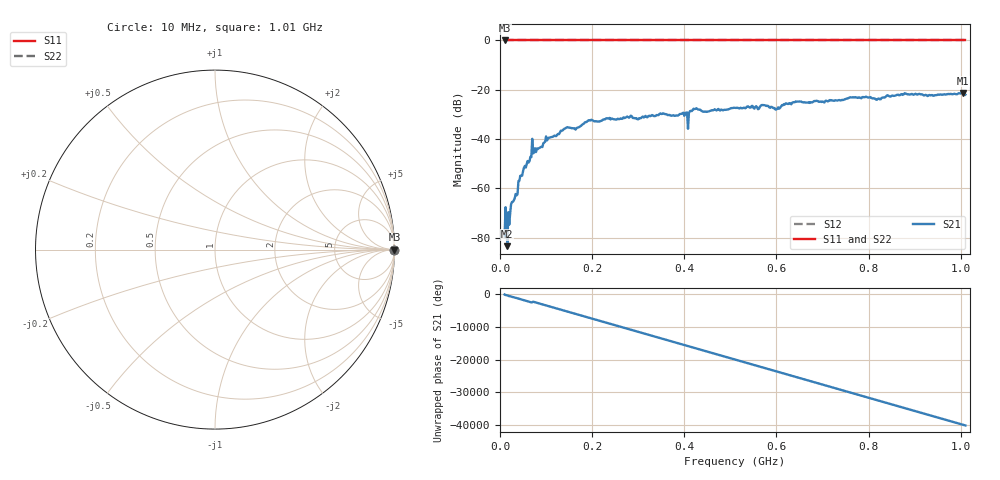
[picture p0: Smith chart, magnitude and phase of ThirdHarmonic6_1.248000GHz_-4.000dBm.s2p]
! 8/16/2025 1:18:47 PM
! C:\ANRITSUVNA\TEMP\TEMP.S2P
! CHANNEL.1
! TR.MEASUREMENT
! RAW.DATA
! RF.CORRECTION.OFF
! AVERAGING.OFF
! IF.BANDWIDTH: 5KHZ
! SWEEPTYPE:  FREQ.SWEEP(Linear)
! Reference Plane Port Info
! PORT:  PORT1  PORT2
! DISTANCE:  0  m  0  m
! TIME:  0  s  0  s
! PHASE.OFFSET:  0  deg.  0  deg.
! LOSS:  0  dB  0  dB
! REF.LOSS:  0  dB  0  dB
! REF.FREQ:  0  Hz  0  Hz
! Power Info
! POWER:  -20  dBm  -20  dBm
! EFF.POWER:  -20  dBm  -20  dBm
! SOURCE.ATTEN:  0  dB  0  dB
! TEST.ATTEN:  0  dB  0  dB
# GHZ S RI R 50.0
! FREQ.GHZ  S11RE  S11IM  S21RE  S21IM  S12RE  S12IM  S22RE  S22IM
!; PortSelection: Port_12
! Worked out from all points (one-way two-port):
!   501 points, 10 MHz to 1.01 GHz, reference 50 ohm
!   highest |S21| = -21.29 dB at 1.004 GHz (marker M1); lowest = -83.5 dB at 16 MHz (marker M2)
!   lowest |S11| = 0.0 dB at 10 MHz (marker M3)
!   |S11| at or under -10 dB: nowhere
!   |S22| runs from 0.0 to 0.0 dB; largest |S21 - S12| = 1.1
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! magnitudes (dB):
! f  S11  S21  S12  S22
! 10 MHz  0.0  -79.8  0.0  0.0
! 16 MHz  0.0  -83.5  0.0  0.0
! 18 MHz  0.0  -69.7  0.0  0.0
! 26 MHz  0.0  -65.5  0.0  0.0
! 34 MHz  0.0  -62.3  0.0  0.0
! 44 MHz  0.0  -54.9  0.0  0.0
! 72 MHz  0.0  -45.8  0.0  0.0
! 142 MHz  0.0  -35.7  0.0  0.0
! 178 MHz  0.0  -34.2  0.0  0.0
! 196 MHz  0.0  -32.5  0.0  0.0
! 344 MHz  0.0  -30.3  0.0  0.0
! 404 MHz  0.0  -29.3  0.0  0.0
! 424 MHz  0.0  -27.8  0.0  0.0
! 446 MHz  0.0  -28.8  0.0  0.0
! 510 MHz  0.0  -27.3  0.0  0.0
! 572 MHz  0.0  -26.2  0.0  0.0
! 602 MHz  0.0  -27.7  0.0  0.0
! 640 MHz  0.0  -25.0  0.0  0.0
! 678 MHz  0.0  -25.1  0.0  0.0
! 844 MHz  0.0  -22.6  0.0  0.0
! 1.004 GHz  0.0  -21.3  0.0  0.0
! 1.01 GHz  0.0  -22.0  0.0  0.0
